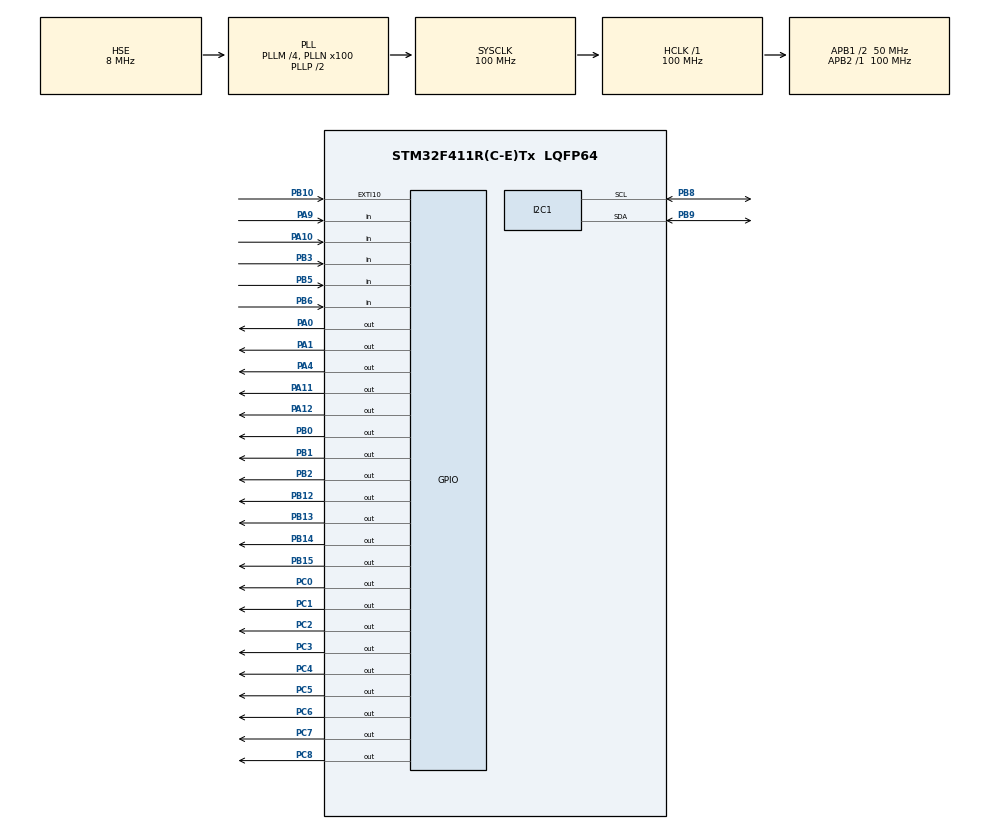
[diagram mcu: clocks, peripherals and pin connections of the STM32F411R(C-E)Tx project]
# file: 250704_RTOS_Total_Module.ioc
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FREERTOS.Tasks01=defaultTask,0,128,StartDefaultTask,Default,NULL,Dynamic,NULL,NULL;myListenerTask,0,128,StartListenerTask,Default,NULL,Dynamic,NULL,NULL;myControllerTas,0,128,StartControllerTask,Default,NULL,Dynamic,NULL,NULL;myPresenterTask,0,128,StartPresenterTask,Default,NULL,Dynamic,NULL,NULL
FREERTOS.configUSE_NEWLIB_REENTRANT=1
Mcu.Family=STM32F4
Mcu.Name=STM32F411R(C-E)Tx
Mcu.Package=LQFP64
NVIC.EXTI15_10_IRQn=true\:5\:0\:false\:false\:true\:true\:true\:true\:true
NVIC.PriorityGroup=NVIC_PRIORITYGROUP_4
NVIC.TIM1_TRG_COM_TIM11_IRQn=true\:15\:0\:false\:false\:true\:false\:false\:true\:true
NVIC.TIM2_IRQn=true\:5\:0\:false\:false\:true\:true\:true\:true\:true
NVIC.TimeBase=TIM1_TRG_COM_TIM11_IRQn
NVIC.TimeBaseIP=TIM11
PA0-WKUP.Signal=GPIO_Output
PA1.Signal=GPIO_Output
PA10.Signal=GPIO_Input
PA11.Signal=GPIO_Output
PA12.Signal=GPIO_Output
PA13.Mode=Serial_Wire
PA13.Signal=SYS_JTMS-SWDIO
PA14.Mode=Serial_Wire
PA14.Signal=SYS_JTCK-SWCLK
PA4.Signal=GPIO_Output
PA9.Signal=GPIO_Input
PB0.Signal=GPIO_Output
PB1.Signal=GPIO_Output
PB10.GPIO_ModeDefaultEXTI=GPIO_MODE_IT_RISING_FALLING
PB10.Signal=GPXTI10
PB12.Signal=GPIO_Output
PB13.Signal=GPIO_Output
PB14.Signal=GPIO_Output
PB15.Signal=GPIO_Output
PB2.Signal=GPIO_Output
PB3.Signal=GPIO_Input
PB5.Signal=GPIO_Input
PB6.Signal=GPIO_Input
PB8.Mode=I2C
PB8.Signal=I2C1_SCL
PB9.Mode=I2C
PB9.Signal=I2C1_SDA
PC0.Signal=GPIO_Output
PC1.Signal=GPIO_Output
PC2.Signal=GPIO_Output
PC3.Signal=GPIO_Output
PC4.Signal=GPIO_Output
PC5.Signal=GPIO_Output
PC6.Signal=GPIO_Output
PC7.Signal=GPIO_Output
PC8.Signal=GPIO_Output
PH0\ -\ OSC_IN.Mode=HSE-External-Oscillator
PH0\ -\ OSC_IN.Signal=RCC_OSC_IN
PH1\ -\ OSC_OUT.Mode=HSE-External-Oscillator
PH1\ -\ OSC_OUT.Signal=RCC_OSC_OUT
ProjectManager.HeapSize=0x200
ProjectManager.StackSize=0x400
ProjectManager.TargetToolchain=STM32CubeIDE
RCC.48MHZClocksFreq_Value=50000000
RCC.AHBFreq_Value=100000000
RCC.APB1CLKDivider=RCC_HCLK_DIV2
RCC.APB1Freq_Value=50000000
RCC.APB1TimFreq_Value=100000000
RCC.APB2Freq_Value=100000000
RCC.APB2TimFreq_Value=100000000
RCC.CortexFreq_Value=100000000
RCC.HCLKFreq_Value=100000000
RCC.HSE_VALUE=8000000
RCC.HSI_VALUE=16000000
RCC.LSE_VALUE=32768
RCC.PLLM=4
RCC.PLLN=100
RCC.PLLSourceVirtual=RCC_PLLSOURCE_HSE
RCC.SYSCLKFreq_VALUE=100000000
RCC.SYSCLKSource=RCC_SYSCLKSOURCE_PLLCLK
RCC.VCOOutputFreq_Value=200000000
TIM2.AutoReloadPreload=TIM_AUTORELOAD_PRELOAD_DISABLE
TIM2.Period=1000-1
TIM2.Prescaler=100-1
TIM3.Period=1000-1
TIM3.Prescaler=100-1
TIM4.Prescaler=100-1
TIM5.AutoReloadPreload=TIM_AUTORELOAD_PRELOAD_ENABLE
TIM5.Period=65355
TIM5.Prescaler=100-1
VP_FREERTOS_VS_CMSIS_V1.Mode=CMSIS_V1
VP_SYS_VS_tim11.Mode=TIM11
VP_TIM2_VS_ClockSourceINT.Mode=Internal
VP_TIM3_VS_ClockSourceINT.Mode=Internal
VP_TIM4_VS_ClockSourceINT.Mode=Internal
VP_TIM5_VS_ClockSourceINT.Mode=Internal
board=custom

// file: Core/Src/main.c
/* USER CODE BEGIN Header */
/**
 ******************************************************************************
 * @file           : main.c
 * @brief          : Main program body
 ******************************************************************************
 * @attention
 *
 * Copyright (c) 2025 STMicroelectronics.
 * All rights reserved.
 *
 * This software is licensed under terms that can be found in the LICENSE file
 * in the root directory of this software component.
 * If no LICENSE file comes with this software, it is provided AS-IS.
 *
 ******************************************************************************
 */
/* USER CODE END Header */
#include "main.h"
#include "cmsis_os.h"
#include "i2c.h"
#include "tim.h"
#include "gpio.h"

/* USER CODE BEGIN Includes */
#include "StopWatch.h"
#include "TimeWatch.h"
#include "Distance.h"
#include "DHT11.h"
/* USER CODE END Includes */

void SystemClock_Config(void);
void MX_FREERTOS_Init(void);

int main(void)
{

  /* MCU Configuration--------------------------------------------------------*/

  /* Reset of all peripherals, Initializes the Flash interface and the Systick. */
  HAL_Init();

  /* Configure the system clock */
  SystemClock_Config();

  /* Initialize all configured peripherals */
  MX_GPIO_Init();
  MX_I2C1_Init();
  MX_TIM2_Init();
  MX_TIM3_Init();
  MX_TIM4_Init();
  MX_TIM5_Init();

  /* Call init function for freertos objects (in cmsis_os2.c) */
  MX_FREERTOS_Init();

  /* Start scheduler */
  osKernelStart();

  /* We should never get here as control is now taken by the scheduler */

  /* Infinite loop */
	while (1)
	{

	}
}

void SystemClock_Config(void)
{
  RCC_OscInitTypeDef RCC_OscInitStruct = {0};
  RCC_ClkInitTypeDef RCC_ClkInitStruct = {0};

  /** Configure the main internal regulator output voltage
  */
  __HAL_RCC_PWR_CLK_ENABLE();
  __HAL_PWR_VOLTAGESCALING_CONFIG(PWR_REGULATOR_VOLTAGE_SCALE1);

  /** Initializes the RCC Oscillators according to the specified parameters
  * in the RCC_OscInitTypeDef structure.
  */
  RCC_OscInitStruct.OscillatorType = RCC_OSCILLATORTYPE_HSE;
  RCC_OscInitStruct.HSEState = RCC_HSE_ON;
  RCC_OscInitStruct.PLL.PLLState = RCC_PLL_ON;
  RCC_OscInitStruct.PLL.PLLSource = RCC_PLLSOURCE_HSE;
  RCC_OscInitStruct.PLL.PLLM = 4;
  RCC_OscInitStruct.PLL.PLLN = 100;
  RCC_OscInitStruct.PLL.PLLP = RCC_PLLP_DIV2;
  RCC_OscInitStruct.PLL.PLLQ = 4;
  if (HAL_RCC_OscConfig(&RCC_OscInitStruct) != HAL_OK)
  {
    Error_Handler();
  }

  /** Initializes the CPU, AHB and APB buses clocks
  */
  RCC_ClkInitStruct.ClockType = RCC_CLOCKTYPE_HCLK|RCC_CLOCKTYPE_SYSCLK
                              |RCC_CLOCKTYPE_PCLK1|RCC_CLOCKTYPE_PCLK2;
  RCC_ClkInitStruct.SYSCLKSource = RCC_SYSCLKSOURCE_PLLCLK;
  RCC_ClkInitStruct.AHBCLKDivider = RCC_SYSCLK_DIV1;
  RCC_ClkInitStruct.APB1CLKDivider = RCC_HCLK_DIV2;
  RCC_ClkInitStruct.APB2CLKDivider = RCC_HCLK_DIV1;

  if (HAL_RCC_ClockConfig(&RCC_ClkInitStruct, FLASH_LATENCY_3) != HAL_OK)
  {
    Error_Handler();
  }
}

void HAL_TIM_PeriodElapsedCallback(TIM_HandleTypeDef *htim)
{
  if (htim->Instance == TIM11)
  {
    HAL_IncTick();
  }
  /* USER CODE BEGIN Callback 1 */
	if (htim->Instance == TIM2) {
		FND_DispDataCallBack();
		TimeWatch_IncTimeCallBack();
		StopWatch_IncTimeCallBack();
	}
  /* USER CODE END Callback 1 */
}

void Error_Handler(void)
{
	__disable_irq();
	while (1)
	{
	}
}

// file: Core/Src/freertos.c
/* USER CODE BEGIN Header */
/**
 ******************************************************************************
 * File Name          : freertos.c
 * Description        : Code for freertos applications
 ******************************************************************************
 * @attention
 *
 * Copyright (c) 2025 STMicroelectronics.
 * All rights reserved.
 *
 * This software is licensed under terms that can be found in the LICENSE file
 * in the root directory of this software component.
 * If no LICENSE file comes with this software, it is provided AS-IS.
 *
 ******************************************************************************
 */
/* USER CODE END Header */

#include "FreeRTOS.h"
#include "task.h"
#include "main.h"
#include "cmsis_os.h"

/* USER CODE BEGIN Includes */
#include <stdio.h>
#include "tim.h"
#include "Listener.h"
#include "Controller.h"
#include "Presenter.h"
#include "Model_Mode.h"
#include "Model_TimeWatch.h"
#include "Model_StopWatch.h"
#include "Model_Distance.h"
#include "Model_TempHumi.h"
/* USER CODE END Includes */

osThreadId defaultTaskHandle;
osThreadId myListenerTaskHandle;
osThreadId myControllerTasHandle;
osThreadId myPresenterTaskHandle;

void StartDefaultTask(void const * argument);
void StartListenerTask(void const * argument);
void StartControllerTask(void const * argument);
void StartPresenterTask(void const * argument);

void MX_FREERTOS_Init(void); /* (MISRA C 2004 rule 8.1) */

/* GetIdleTaskMemory prototype (linked to static allocation support) */
void vApplicationGetIdleTaskMemory( StaticTask_t **ppxIdleTaskTCBBuffer, StackType_t **ppxIdleTaskStackBuffer, uint32_t *pulIdleTaskStackSize );

/* USER CODE BEGIN GET_IDLE_TASK_MEMORY */
static StaticTask_t xIdleTaskTCBBuffer;
static StackType_t xIdleStack[configMINIMAL_STACK_SIZE];

void vApplicationGetIdleTaskMemory( StaticTask_t **ppxIdleTaskTCBBuffer, StackType_t **ppxIdleTaskStackBuffer, uint32_t *pulIdleTaskStackSize )
{
	*ppxIdleTaskTCBBuffer = &xIdleTaskTCBBuffer;
	*ppxIdleTaskStackBuffer = &xIdleStack[0];
	*pulIdleTaskStackSize = configMINIMAL_STACK_SIZE;
	/* place for user code */
}
/* USER CODE END GET_IDLE_TASK_MEMORY */

void MX_FREERTOS_Init(void) {

  /* Create the thread(s) */
  /* definition and creation of defaultTask */
  osThreadDef(defaultTask, StartDefaultTask, osPriorityNormal, 0, 128);
  defaultTaskHandle = osThreadCreate(osThread(defaultTask), NULL);

  /* definition and creation of myListenerTask */
  osThreadDef(myListenerTask, StartListenerTask, osPriorityNormal, 0, 128);
  myListenerTaskHandle = osThreadCreate(osThread(myListenerTask), NULL);

  /* definition and creation of myControllerTas */
  osThreadDef(myControllerTas, StartControllerTask, osPriorityNormal, 0, 128);
  myControllerTasHandle = osThreadCreate(osThread(myControllerTas), NULL);

  /* definition and creation of myPresenterTask */
  osThreadDef(myPresenterTask, StartPresenterTask, osPriorityNormal, 0, 128);
  myPresenterTaskHandle = osThreadCreate(osThread(myPresenterTask), NULL);

  /* USER CODE BEGIN RTOS_THREADS */
	Model_ModeInit();
	Model_TimeWatchInit();
	Model_StopWatchInit();
	Model_DistanceInit();
	Model_TempHumiInit();
	HAL_TIM_Base_Start_IT(&htim2);
	HAL_TIM_Base_Start(&htim4);
	HAL_TIM_Base_Start(&htim3);
	/* add threads, ... */
  /* USER CODE END RTOS_THREADS */

}

void StartDefaultTask(void const * argument)
{
	for(;;)
	{
		osDelay(1);
	}
}

void StartListenerTask(void const * argument)
{
  /* USER CODE BEGIN StartListenerTask */
	Listener_Init();
	/* Infinite loop */
	for(;;)
	{
		Listener_Execute();
		osDelay(1);
	}
  /* USER CODE END StartListenerTask */
}

void StartControllerTask(void const * argument)
{
  /* USER CODE BEGIN StartControllerTask */
	Controller_Init();
	/* Infinite loop */
	for(;;)
	{
		Controller_Execute();
		osDelay(1);
	}
  /* USER CODE END StartControllerTask */
}

void StartPresenterTask(void const * argument)
{
  /* USER CODE BEGIN StartPresenterTask */
	Presenter_Init();
	/* Infinite loop */
	for(;;)
	{
		Presenter_Execute();
		osDelay(1);
	}
  /* USER CODE END StartPresenterTask */
}
